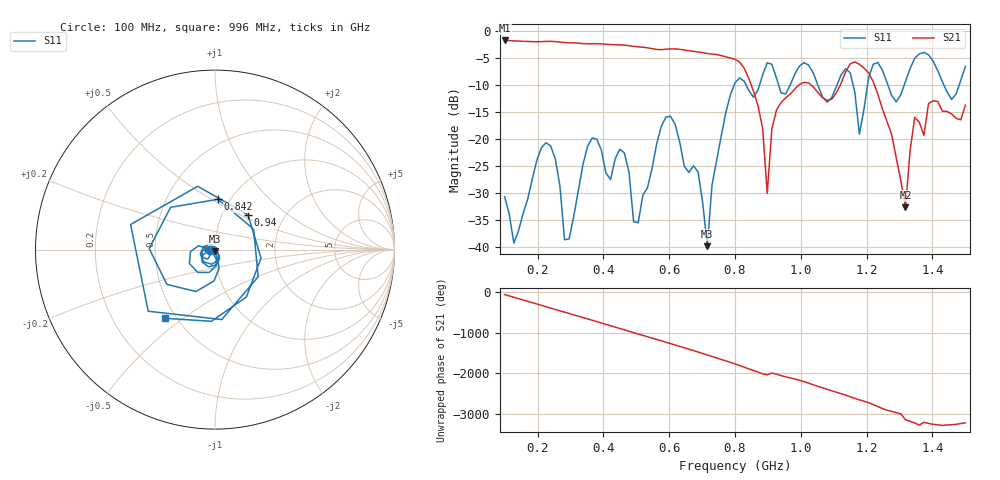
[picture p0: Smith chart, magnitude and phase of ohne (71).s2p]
! NanoVNA-App
! Date: 2025-09-26 09:55:57
! Start: 100MHz Stop: 1,5GHz Points: 101
! S-Parameter data: F S11 S21 S12 S22
# Hz S RI R 50
!  Frequency  S11_Real  S11_Imag  S21_Real  S21_Imag  S12_Real  S12_Imag  S22_Real  S22_Imag
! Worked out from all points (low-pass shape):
!   101 points, 100 MHz to 1.5 GHz, reference 50 ohm
!   highest |S21| = -1.79 dB at 100 MHz (marker M1); lowest = -32.6 dB at 1.318 GHz (marker M2)
!   |S21| within 3 dB of the highest: start of sweep to 770.9 MHz
!   lowest |S11| = -39.8 dB at 716 MHz (marker M3), VSWR 1.02, Z = 49.8 - j1.01 ohm
!   |S11| at or under -10 dB: start of sweep to 797.5 MHz; 833.5 MHz to 874.7 MHz (41.18 MHz wide, 4.82 % of centre); 1.052 GHz to 1.11 GHz (58.6 MHz wide, 5.42 % of centre) (the widest 3 of 7)
!   S12 and S22 are empty: the file has one direction only
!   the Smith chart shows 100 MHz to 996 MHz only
!   S11 on the Smith chart (normalised r, x): 100 MHz: 0.94, -0.01; 842 MHz: 0.88, +0.54; 940 MHz: 1.32, +0.55; 996 MHz: 0.44, -0.43
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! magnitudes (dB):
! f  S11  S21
! 100 MHz  -30.6  -1.8
! 128 MHz  -39.2  -1.9
! 226 MHz  -20.7  -2.0
! 296 MHz  -38.4  -2.2
! 338 MHz  -24.7  -2.4
! 464 MHz  -22.6  -2.7
! 506 MHz  -35.4  -3.0
! 576 MHz  -17.7  -3.5
! 688 MHz  -26.1  -3.9
! 716 MHz  -39.8  -4.2
! 800 MHz  -9.6  -5.3
! 842 MHz  -11.0  -8.8
! 898 MHz  -5.9  -30.1
! 940 MHz  -11.5  -13.3
! 996 MHz  -6.5  -9.9
! 1.038 GHz  -7.8  -10.4
! 1.178 GHz  -19.1  -6.2
! 1.22 GHz  -6.2  -9.4
! 1.276 GHz  -12.0  -19.2
! 1.318 GHz  -9.4  -32.6
! 1.346 GHz  -5.1  -16.0
! 1.5 GHz  -6.6  -13.7
